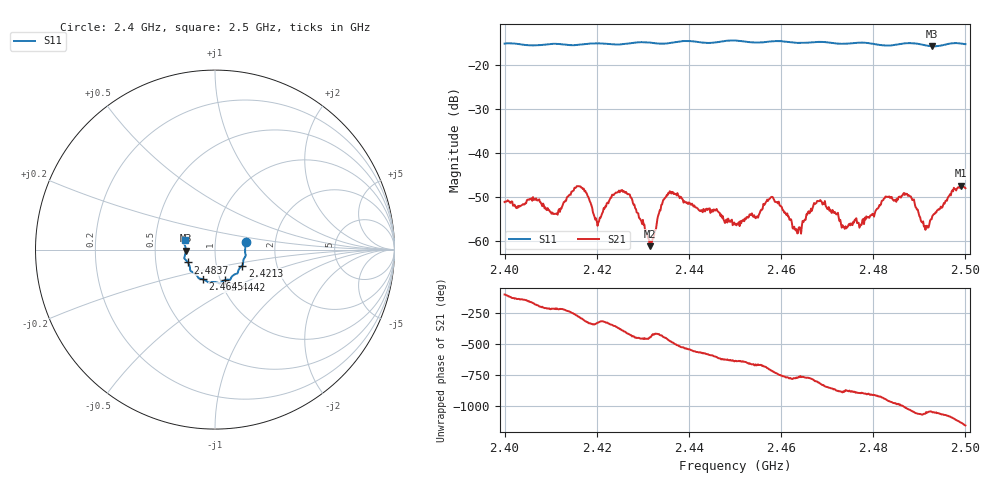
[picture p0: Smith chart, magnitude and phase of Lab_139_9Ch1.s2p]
# Hz S RI R 50
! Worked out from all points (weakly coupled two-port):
!   601 points, 2.4 GHz to 2.5 GHz, reference 50 ohm
!   highest |S21| = -47.51 dB at 2.499 GHz (marker M1); lowest = -61.3 dB at 2.4315 GHz (marker M2)
!   lowest |S11| = -15.7 dB at 2.4928 GHz (marker M3), VSWR 1.39, Z = 36 - j0.375 ohm
!   |S11| at or under -10 dB: start of sweep to end of sweep
!   S12 and S22 are empty: the file has one direction only
!   S11 on the Smith chart (normalised r, x): 2.4 GHz: 1.41, +0.12; 2.4213 GHz: 1.33, -0.25; 2.4442 GHz: 1.05, -0.37; 2.4645 GHz: 0.83, -0.29; 2.4837 GHz: 0.73, -0.11; 2.5 GHz: 0.71, +0.07
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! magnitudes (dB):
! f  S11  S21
! 2.4 GHz  -15.1  -51.2
! 2.411 GHz  -15.2  -53.9
! 2.4167 GHz  -15.3  -48.0
! 2.42 GHz  -15.0  -55.6
! 2.4213 GHz  -15.1  -53.5
! 2.4267 GHz  -15.1  -49.4
! 2.4315 GHz  -14.9  -61.3
! 2.4333 GHz  -15.1  -54.3
! 2.436 GHz  -15.0  -48.8
! 2.4442 GHz  -15.0  -52.7
! 2.45 GHz  -14.4  -56.3
! 2.4578 GHz  -14.6  -50.1
! 2.4645 GHz  -15.0  -56.7
! 2.4667 GHz  -14.8  -53.2
! 2.474 GHz  -15.1  -56.7
! 2.4833 GHz  -15.5  -50.0
! 2.4837 GHz  -15.5  -50.3
! 2.4877 GHz  -15.0  -49.6
! 2.4915 GHz  -15.5  -56.7
! 2.4928 GHz  -15.7  -54.4
! 2.499 GHz  -15.1  -47.5
! 2.5 GHz  -15.2  -48.1
